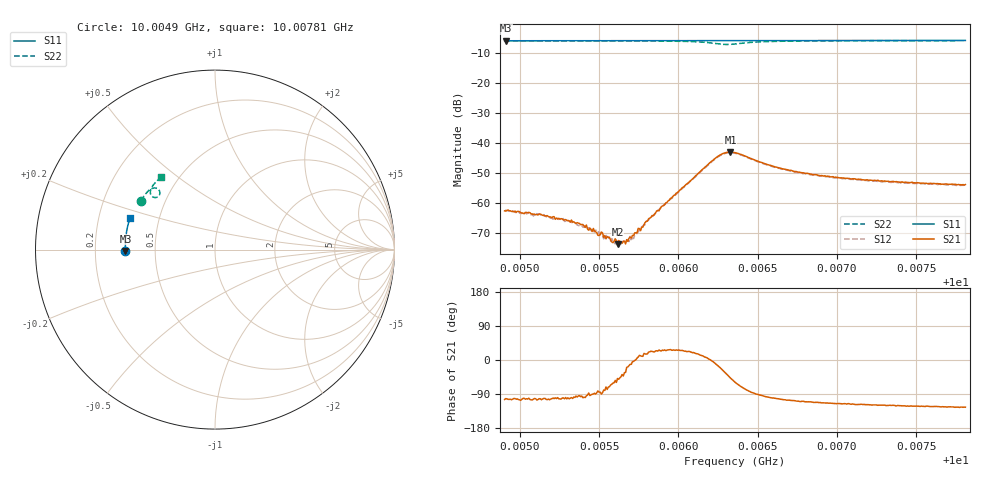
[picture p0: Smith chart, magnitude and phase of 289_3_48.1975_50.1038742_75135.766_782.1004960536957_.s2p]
#  HZ  S  RI  R  50.00
! Rohde & Schwarz Vector Network Analyzer
! Rohde-Schwarz,ZNB20-2Port,1311601062101988,3.16
! Created: UTC 3/20/2024, 11:49:00 AM
! freq[Hz]  re:S11  im:S11  re:S21  im:S21  re:S12  im:S12  re:S22  im:S22
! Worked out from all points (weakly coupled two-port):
!   401 points, 10.0049 GHz to 10.00781 GHz, reference 50 ohm
!   highest |S21| = -43.06 dB at 10.00633 GHz (marker M1); lowest = -73.7 dB at 10.00562 GHz (marker M2)
!   lowest |S11| = -6.0 dB at 10.00491 GHz (marker M3), VSWR 2.99, Z = 16.7 - j0.356 ohm
!   |S11| at or under -10 dB: nowhere
!   |S22| runs from -7.3 to -6.0 dB; largest |S21 - S12| = 0.00044
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1.0004903e10  -0.4994 -0.00845  -0.000181 -0.000717  -0.000113 -0.000721  -0.4126 0.2723
1.0004911e10  -0.4993 -0.00799  -0.000151 -0.00072  -0.000124 -0.000746  -0.4123 0.2727
1.0005121e10  -0.4999 0.00586  -0.000137 -0.000641  -0.00014 -0.000641  -0.4045 0.2852
1.000539e10  -0.4999 0.0232  -4.04e-05 -0.000437  -2.28e-05 -0.000418  -0.3935 0.3012
1.0005492e10  -0.4997 0.0298  4.17e-05 -0.000286  6.96e-05 -0.000334  -0.3889 0.3074
1.0005521e10  -0.4996 0.0317  2.22e-05 -0.000317  3.76e-05 -0.000281  -0.3876 0.309
1.0005579e10  -0.4995 0.0353  9.82e-05 -0.000202  8.97e-05 -0.000241  -0.3848 0.3128
1.0005615e10  -0.4995 0.0379  0.000137 -0.000156  0.000151 -0.000126  -0.3828 0.315
1.000563e10  -0.4994 0.0388  0.000156 -0.000168  0.000143 -0.000126  -0.3821 0.316
1.0005652e10  -0.4995 0.0403  0.000168 -0.000153  0.000204 -0.000114  -0.381 0.3172
1.0005681e10  -0.4994 0.042  0.000218 -7.13e-05  0.000228 -9.47e-05  -0.3793 0.319
1.0005717e10  -0.4991 0.0444  0.000286 -1.88e-05  0.000257 5.17e-06  -0.3772 0.3212
1.0005812e10  -0.4987 0.0506  0.000507 0.000196  0.000468 0.000225  -0.3712 0.3274
1.0005877e10  -0.4984 0.0549  0.000664 0.000328  0.000692 0.000358  -0.3662 0.3317
1.0006226e10  -0.4956 0.0773  0.00533 -0.000644  0.00524 -0.000401  -0.3103 0.329
1.0006277e10  -0.495 0.0802  0.00592 -0.00287  0.00591 -0.0025  -0.3077 0.3091
1.0006328e10  -0.4946 0.0831  0.00475 -0.00518  0.00495 -0.0048  -0.3214 0.2925
1.0006357e10  -0.4947 0.085  0.00362 -0.00584  0.00381 -0.00552  -0.3329 0.2899
1.0006611e10  -0.4926 0.1013  -0.00076 -0.00389  -0.000598 -0.00387  -0.3593 0.3304
1.0006843e10  -0.4897 0.1161  -0.00107 -0.00279  -0.000945 -0.00278  -0.3492 0.3524
1.000733e10  -0.4826 0.1467  -0.00111 -0.00197  -0.000998 -0.00198  -0.3248 0.3814
1.000781e10  -0.4735 0.1761  -0.00115 -0.00167  -0.00103 -0.00165  -0.3004 0.4039
